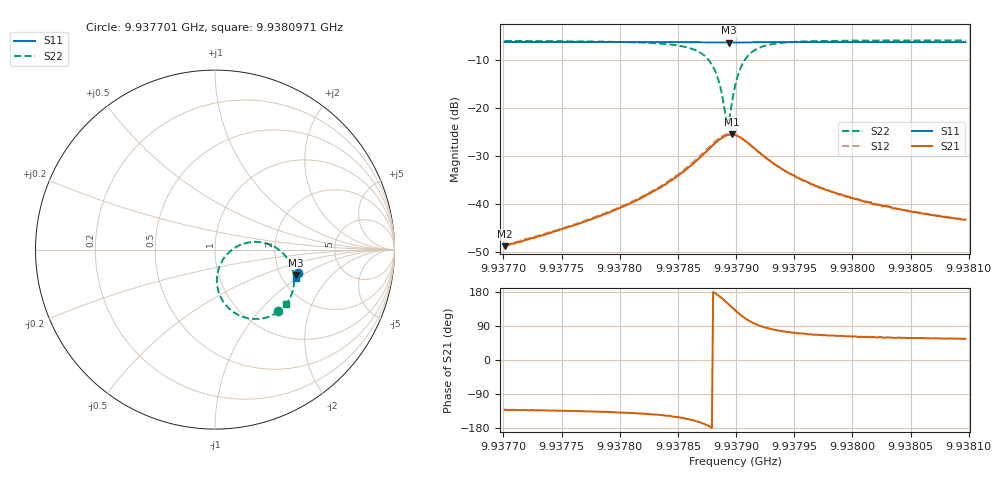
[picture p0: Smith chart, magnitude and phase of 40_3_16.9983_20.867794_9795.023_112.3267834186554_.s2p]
#  HZ  S  RI  R  50.00
! Rohde & Schwarz Vector Network Analyzer
! Rohde-Schwarz,ZNB20-2Port,1311601062101988,3.16
! Created: UTC 3/20/2024, 10:53:52 PM
! freq[Hz]  re:S11  im:S11  re:S21  im:S21  re:S12  im:S12  re:S22  im:S22
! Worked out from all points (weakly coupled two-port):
!   401 points, 9.937701 GHz to 9.9380971 GHz, reference 50 ohm
!   highest |S21| = -25.58 dB at 9.9378961 GHz (marker M1); lowest = -48.8 dB at 9.937701 GHz (marker M2)
!   lowest |S11| = -6.5 dB at 9.9378941 GHz (marker M3), VSWR 2.81, Z = 121 - j44.5 ohm
!   |S11| at or under -10 dB: nowhere
!   |S22| runs from -23.2 to -6.0 dB; largest |S21 - S12| = 0.004
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9.93770103e9  0.4631 -0.1324  -0.00241 -0.00272  -0.00252 -0.00278  0.3529 -0.3448
9.93776738e9  0.4613 -0.1369  -0.00453 -0.0045  -0.00468 -0.00451  0.3304 -0.3593
9.93780303e9  0.4601 -0.1396  -0.0071 -0.00616  -0.00736 -0.00623  0.3054 -0.3713
9.93783373e9  0.4587 -0.142  -0.0119 -0.00833  -0.0124 -0.00837  0.2615 -0.3839
9.93785948e9  0.4571 -0.144  -0.022 -0.00959  -0.0231 -0.00934  0.1741 -0.3805
9.93787433e9  0.4553 -0.1449  -0.0344 -0.00541  -0.0363 -0.00443  0.0749 -0.325
9.93788225e9  0.4538 -0.1446  -0.0431 0.00317  -0.0446 0.00558  0.0205 -0.236
9.93788621e9  0.4531 -0.1439  -0.0459 0.0107  -0.0471 0.0136  0.0105 -0.1681
9.93789116e9  0.4528 -0.1429  -0.0458 0.0226  -0.0457 0.0261  0.0351 -0.0723
9.93789315e9  0.4528 -0.1423  -0.0446 0.0272  -0.0437 0.0311  0.0584 -0.0366
9.93789414e9  0.4528 -0.1421  -0.0432 0.0295  -0.042 0.0332  0.0731 -0.02
9.93789612e9  0.4531 -0.1416  -0.0401 0.034  -0.0384 0.0373  0.1067 0.00744
9.93789909e9  0.4536 -0.1411  -0.0342 0.039  -0.0321 0.0417  0.1638 0.0342
9.93790206e9  0.4543 -0.1408  -0.0275 0.0418  -0.025 0.0439  0.2215 0.0434
9.93790602e9  0.455 -0.1409  -0.0189 0.0431  -0.0162 0.0441  0.2905 0.0336
9.93791097e9  0.4561 -0.1412  -0.01 0.0412  -0.00805 0.0413  0.3537 0.000916
9.93791691e9  0.4569 -0.142  -0.00291 0.0366  -0.00142 0.0366  0.3996 -0.0453
9.93793771e9  0.4576 -0.1447  0.00533 0.0233  0.00599 0.023  0.4406 -0.1627
9.93796544e9  0.4572 -0.1474  0.00625 0.0146  0.00642 0.0146  0.4328 -0.2307
9.93800109e9  0.4562 -0.1503  0.00538 0.0101  0.00557 0.00997  0.4182 -0.2681
9.93803178e9  0.4555 -0.1526  0.00472 0.00812  0.00496 0.0079  0.4088 -0.2851
9.93809714e9  0.4537 -0.1569  0.00381 0.00568  0.00395 0.00563  0.3954 -0.305
